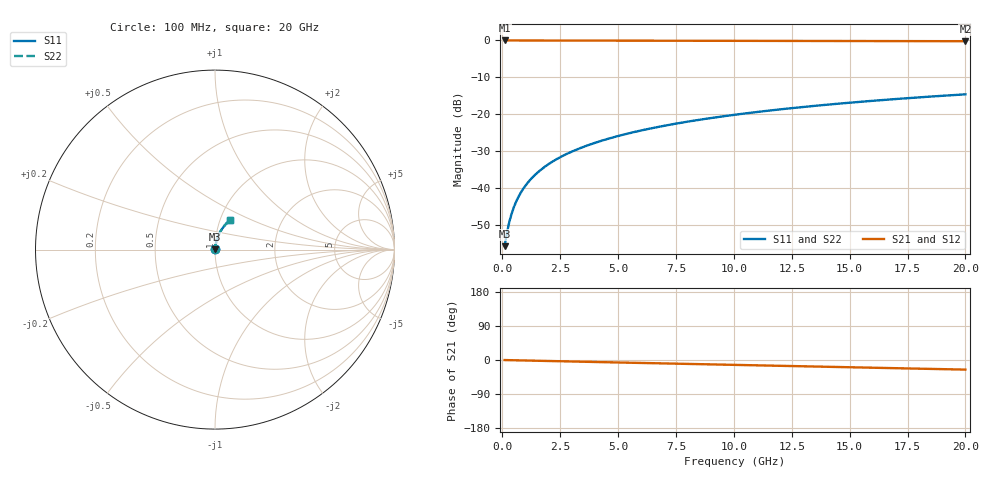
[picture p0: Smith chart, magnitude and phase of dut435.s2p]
! Touchstone file exported from HFSS 2026.1.0
!  File:  C:/ffzhzh/LocalFiles/Ansys_Project_Files/temp_train_BSMRDL_435_1783012996_55676.aedt
!  Generated:  01:24:42 AM Jul  3, 2026
!  Design:  BSMRDL
!  Project:  temp_train_BSMRDL_435_1783012996_55676
! Variables:
!  h_bsmrdl = 5.62um
!  h_ox = 20um
!  h_rdl = 5um
!  h_sub = 80um
!  h_tmrdl = 5um
!  h_tsv = 80um
!  h_via = 3um
!  l_bsmrdl = 384.57um
!  l_sub = 784.57um
!  l_tmrdl = 200um
!  m_sub = 200um
!  pitch = 44.42um
!  r_tsv = 6um
!  s_tmrdl = 10um
!  w_bsmrdl = 25.19um
!  w_sub = 500um
!  w_tmrdl = 12um
!  x_tsv_center1 = 206um
!  x_tsv_center2 = 615.76um
!  x_tsv_center3 = 827.76um
!  x_tsv_center4 = 1237.52um
!  x_tsv_center5 = 1449.52um
!  x_tsv_center6 = 1859.28um
# GHz S MA R 50.000000
! Terminal data exported
! Port[1] = BSM_RDL1_1_T1
! Port[2] = BSM_RDL1_1_T2
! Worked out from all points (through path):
!   200 points, 100 MHz to 20 GHz, reference 50 ohm
!   highest |S21| = -0.01 dB at 100 MHz (marker M1); lowest = -0.2 dB at 20 GHz (marker M2)
!   group delay of S21, straight-line fit = 3.51 ps
!   lowest |S11| = -55.6 dB at 100 MHz (marker M3), VSWR 1.00, Z = 50.1 + j0.12 ohm
!   |S11| at or under -10 dB: start of sweep to end of sweep
!   |S22| runs from -55.6 to -14.6 dB; largest |S21 - S12| = 3.7e-15
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0.1  0.001657 46.3  0.9989 -0.1  0.9989 -0.1  0.001657 46.3
! Gamma 0 0 0 0
! Port Impedance 50 0 50 0
0.2  0.002503 63.4  0.9987 -0.3  0.9987 -0.3  0.002502 63.3
0.3  0.003493 70.9  0.9987 -0.4  0.9987 -0.4  0.003492 70.8
0.4  0.004529 74.9  0.9986 -0.5  0.9986 -0.5  0.004526 74.9
0.5  0.005582 77.3  0.9985 -0.7  0.9985 -0.7  0.005579 77.3
0.6  0.006643 78.9  0.9985 -0.8  0.9985 -0.8  0.00664 78.8
0.8  0.008772 80.6  0.9984 -1.1  0.9984 -1.1  0.008768 80.6
1.1  0.01195 81.7  0.9983 -1.5  0.9983 -1.5  0.01195 81.7
1.3  0.01406 82.0  0.9982 -1.7  0.9982 -1.7  0.01405 82.0
1.5  0.01615 82.2  0.9981 -2.0  0.9981 -2.0  0.01615 82.2
1.8  0.01926 82.2  0.9979 -2.4  0.9979 -2.4  0.01925 82.2
2.1  0.02233 82.0  0.9977 -2.8  0.9977 -2.8  0.02233 82.0
2.7  0.02839 81.6  0.9972 -3.6  0.9972 -3.6  0.02839 81.6
3.5  0.03635 81.0  0.9966 -4.6  0.9966 -4.6  0.03635 81.0
4.2  0.04324 80.3  0.9959 -5.5  0.9959 -5.5  0.04324 80.3
5  0.05104 79.6  0.9952 -6.5  0.9952 -6.5  0.05104 79.6
6.8  0.06838 77.7  0.9935 -8.8  0.9935 -8.8  0.06839 77.7
8.3  0.08264 76.1  0.9919 -10.7  0.9919 -10.7  0.08264 76.1
10.1  0.09951 74.0  0.9899 -13.0  0.9899 -13.0  0.09951 74.0
13.4  0.1297 70.3  0.9857 -17.2  0.9857 -17.2  0.1297 70.2
16.7  0.1589 66.4  0.9808 -21.3  0.9808 -21.3  0.1589 66.4
20  0.1868 62.5  0.9753 -25.3  0.9753 -25.3  0.1868 62.5
